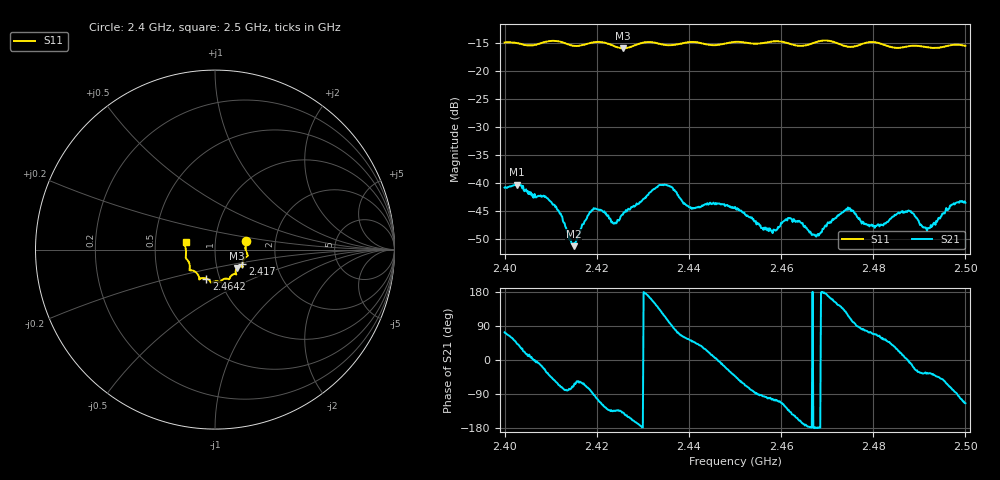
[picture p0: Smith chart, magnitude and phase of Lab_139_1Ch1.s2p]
# Hz S RI R 50
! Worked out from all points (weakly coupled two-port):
!   601 points, 2.4 GHz to 2.5 GHz, reference 50 ohm
!   highest |S21| = -40.20 dB at 2.4027 GHz (marker M1); lowest = -51.2 dB at 2.415 GHz (marker M2)
!   lowest |S11| = -15.9 dB at 2.4257 GHz (marker M3), VSWR 1.38, Z = 62.5 - j13.1 ohm
!   |S11| at or under -10 dB: start of sweep to end of sweep
!   S12 and S22 are empty: the file has one direction only
!   S11 on the Smith chart (normalised r, x): 2.4 GHz: 1.41, +0.14; 2.417 GHz: 1.34, -0.22; 2.4642 GHz: 0.86, -0.29; 2.5 GHz: 0.72, +0.06
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2.4e9  0.1737 0.0489  0.00266 0.00877  0 0  0 0
2.402667e9  0.1748 0.0366  0.00712 0.00669  0 0  0 0
2.409667e9  0.1832 -0.0313  0.00544 -0.00452  0 0  0 0
2.415e9  0.1592 -0.0555  0.00102 -0.00256  0 0  0 0
2.416667e9  0.153 -0.0745  0.00203 -0.00347  0 0  0 0
2.417e9  0.1524 -0.0784  0.00195 -0.00384  0 0  0 0
2.4195e9  0.1541 -0.0965  -0.000321 -0.00594  0 0  0 0
2.423667e9  0.1398 -0.0941  -0.00302 -0.00316  0 0  0 0
2.425667e9  0.1231 -0.1025  -0.00395 -0.00348  0 0  0 0
2.433333e9  0.1126 -0.1364  -0.00702 0.00641  0 0  0 0
2.436e9  0.0948 -0.1422  -0.000829 0.00937  0 0  0 0
2.4405e9  0.0791 -0.1645  0.00371 0.00468  0 0  0 0
2.45e9  0.029 -0.1806  0.00452 -0.0042  0 0  0 0
2.457833e9  -0.0178 -0.1826  -0.000814 -0.00368  0 0  0 0
2.464167e9  -0.0478 -0.1616  -0.00423 -0.00155  0 0  0 0
2.466667e9  -0.0759 -0.1597  -0.00346 -0.000101  0 0  0 0
2.4745e9  -0.1018 -0.1308  -0.00283 0.0054  0 0  0 0
2.478833e9  -0.1399 -0.1151  0.00112 0.00407  0 0  0 0
2.483333e9  -0.1405 -0.0901  0.00311 0.00341  0 0  0 0
2.487667e9  -0.1588 -0.0527  0.00572 -0.000164  0 0  0 0
2.491833e9  -0.1614 -0.027  0.00323 -0.00234  0 0  0 0
2.5e9  -0.1633 0.042  -0.00276 -0.00612  0 0  0 0
